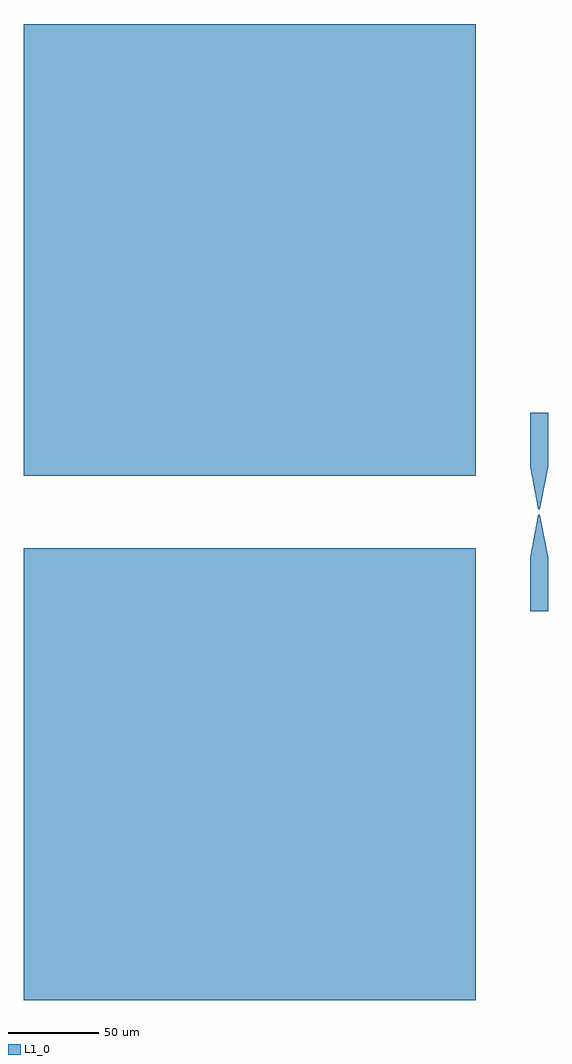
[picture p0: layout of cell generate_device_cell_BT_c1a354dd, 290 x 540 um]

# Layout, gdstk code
import gdstk
lib = gdstk.Library(unit=1e-6, precision=1e-09)
def R(c, l, rs):  # rectangles x0, y0, x1, y1
    for r in rs: c.add(gdstk.rectangle(r[:2], r[2:], *l))
def P(c, l, *ps):  # polygons
    for p in ps: c.add(gdstk.Polygon(p, *l))
L1_0 = (1, 0)

rectangle_s250_250_l1_0_ = lib.new_cell('rectangle_S250_250_L1_0_074ab488')
R(rectangle_s250_250_l1_0_, L1_0, [(0,0,250,250)])

nanowire_bridge_17248305 = lib.new_cell('NANOWIRE_BRIDGE_1724830585_nwl=2.10_nwt=0.10')
R(nanowire_bridge_17248305, L1_0, [(234.5,143.5,235.5,146.5)])
nanowire_bridge_17248305.add(gdstk.Reference(rectangle_s250_250_l1_0_, (0,0)))
nanowire_bridge_17248305.add(gdstk.Reference(rectangle_s250_250_l1_0_, (0,290)))

unnamed_25 = lib.new_cell('Unnamed_25')
R(unnamed_25, L1_0, [(230,90,240,120), (230,170,240,200)])
P(unnamed_25, L1_0, [(230,120),(234.5,143.5),(235.5,143.5),(240,120)],
  [(234.5,146.5),(230,170),(240,170),(235.5,146.5)])

generate_device_cell_bt_ = lib.new_cell('generate_device_cell_BT_c1a354dd')
generate_device_cell_bt_.add(gdstk.Reference(nanowire_bridge_17248305, (0,0)))
generate_device_cell_bt_.add(gdstk.Reference(unnamed_25, (50,125)))

lib.write_gds('generate_device_cell_BT_c1a354dd.gds')
